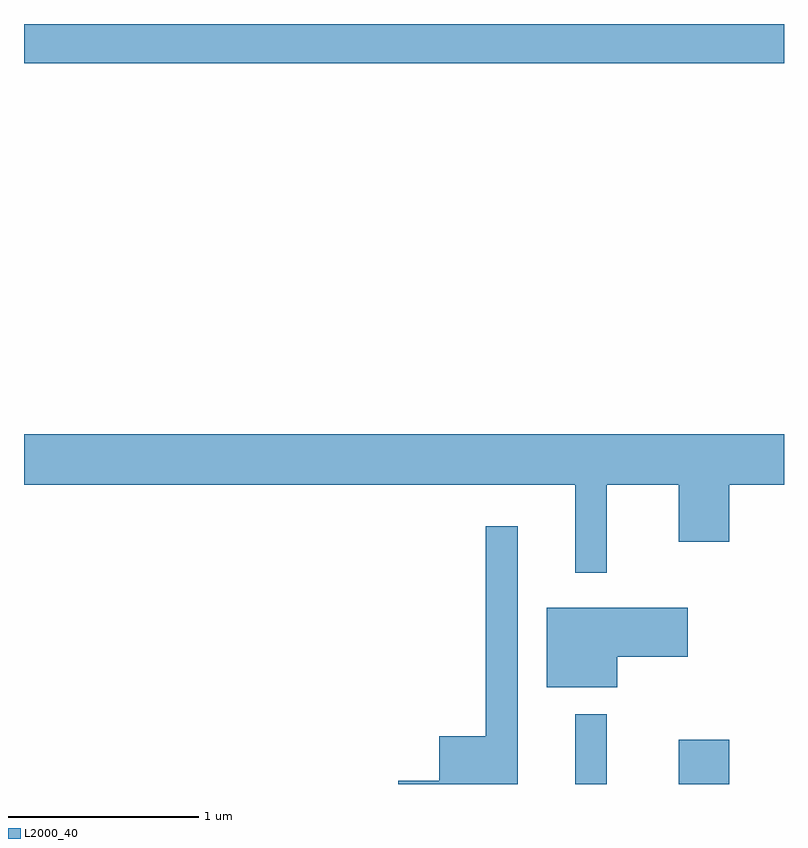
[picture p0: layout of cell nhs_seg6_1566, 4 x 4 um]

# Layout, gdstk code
import gdstk
lib = gdstk.Library(unit=1e-6, precision=1e-09)
def R(c, l, rs):  # rectangles x0, y0, x1, y1
    for r in rs: c.add(gdstk.rectangle(r[:2], r[2:], *l))
def P(c, l, *ps):  # polygons
    for p in ps: c.add(gdstk.Polygon(p, *l))
L2000_40 = (2000, 40)

nhs_seg6_1566 = lib.new_cell('nhs_seg6_1566')
R(nhs_seg6_1566, L2000_40, [(234.511,1626.162,234.679,1626.528), (235.056,1626.162,235.324,1626.394), (231.611,1629.956,235.611,1630.162)])
P(nhs_seg6_1566, L2000_40, [(234.679,1627.736),(235.056,1627.736),(235.056,1627.436),(235.324,1627.436),(235.324,1627.736),(235.611,1627.736),(235.611,1628.004),(231.611,1628.004),(231.611,1627.736),(234.511,1627.736),(234.511,1627.273),(234.679,1627.273)],
  [(234.209,1627.518),(234.041,1627.518),(234.041,1626.414),(233.796,1626.414),(233.796,1626.179),(233.581,1626.179),(233.581,1626.162),(234.209,1626.162)],
  [(234.734,1626.831),(235.104,1626.831),(235.104,1627.089),(234.361,1627.089),(234.361,1626.671),(234.734,1626.671)])

lib.write_gds('nhs_seg6_1566.gds')
